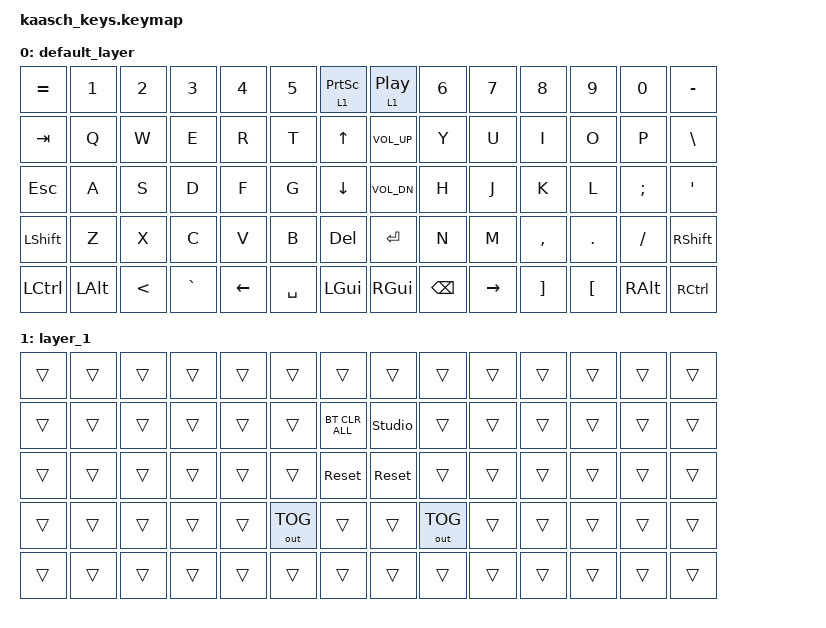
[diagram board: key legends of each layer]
#include <behaviors.dtsi>
#include <dt-bindings/zmk/bt.h>
#include <dt-bindings/zmk/keys.h>
#include <dt-bindings/zmk/outputs.h>

/ {
    keymap {
        compatible = "zmk,keymap";

        default_layer {
            bindings = <
&kp EQUAL  &kp N1    &kp N2  &kp N3     &kp N4    &kp N5     &lt 1 PRINTSCREEN  &lt 1 C_PLAY_PAUSE  &kp N6    &kp N7     &kp N8     &kp N9            &kp N0     &kp MINUS
&kp TAB    &kp Q     &kp W   &kp E      &kp R     &kp T      &kp UP             &kp C_VOL_UP        &kp Y     &kp U      &kp I      &kp O             &kp P      &kp BACKSLASH
&kp ESC    &kp A     &kp S   &kp D      &kp F     &kp G      &kp DOWN           &kp C_VOL_DN        &kp H     &kp J      &kp K      &kp L             &kp SEMI   &kp SQT
&kp LSHFT  &kp Z     &kp X   &kp C      &kp V     &kp B      &kp DELETE         &kp RETURN          &kp N     &kp M      &kp COMMA  &kp DOT           &kp SLASH  &kp RSHIFT
&kp LCTRL  &kp LALT  &kp LT  &kp GRAVE  &kp LEFT  &kp SPACE  &kp LGUI           &kp RGUI            &kp BSPC  &kp RIGHT  &kp RBKT   &kp LEFT_BRACKET  &kp RALT   &kp RCTRL
            >;
        };

        layer_1 {
            bindings = <
&trans  &trans  &trans  &trans  &trans  &trans        &trans          &trans          &trans        &trans  &trans  &trans  &trans  &trans
&trans  &trans  &trans  &trans  &trans  &trans        &bt BT_CLR_ALL  &studio_unlock  &trans        &trans  &trans  &trans  &trans  &trans
&trans  &trans  &trans  &trans  &trans  &trans        &sys_reset      &sys_reset      &trans        &trans  &trans  &trans  &trans  &trans
&trans  &trans  &trans  &trans  &trans  &out OUT_TOG  &trans          &trans          &out OUT_TOG  &trans  &trans  &trans  &trans  &trans
&trans  &trans  &trans  &trans  &trans  &trans        &trans          &trans          &trans        &trans  &trans  &trans  &trans  &trans
            >;
        };
    };
};
